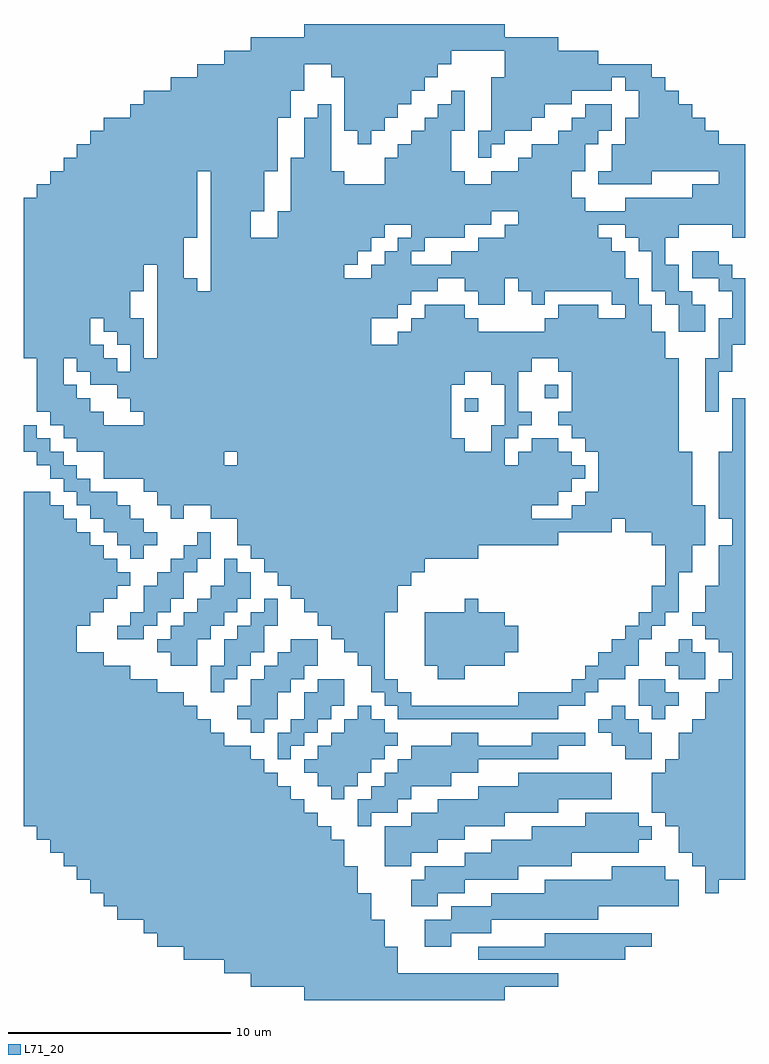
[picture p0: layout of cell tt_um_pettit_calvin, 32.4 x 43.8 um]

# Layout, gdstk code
import gdstk
lib = gdstk.Library(unit=1e-6, precision=1e-09)
def R(c, l, rs):  # rectangles x0, y0, x1, y1
    for r in rs: c.add(gdstk.rectangle(r[:2], r[2:], *l))
def A(c, l, x, y, w, h, nx, ny, dx, dy):  # array of equal rectangles
    R(c, l, [(x+i*dx, y+j*dy, x+i*dx+w, y+j*dy+h) for i in range(nx) for j in range(ny)])
L71_20 = (71, 20)

tt_um_pettit_calvin = lib.new_cell('tt_um_pettit_calvin')
A(tt_um_pettit_calvin, L71_20, 28.2, 10.8, 4.2, 0.6, 1, 3, 0, 0.6)
A(tt_um_pettit_calvin, L71_20, 0, 17.4, 3.6, 0.6, 1, 3, 0, 2.4)
A(tt_um_pettit_calvin, L71_20, 31.2, 21, 1.2, 0.6, 1, 3, 0, 0.6)
A(tt_um_pettit_calvin, L71_20, 31.2, 24, 1.2, 0.6, 1, 5, 0, 0.6)
A(tt_um_pettit_calvin, L71_20, 25.8, 25.2, 4.2, 0.6, 1, 3, 0, 0.6)
A(tt_um_pettit_calvin, L71_20, 31.8, 27, 0.6, 0.6, 1, 4, 0, 0.6)
A(tt_um_pettit_calvin, L71_20, 24.6, 28.8, 4.8, 0.6, 1, 3, 0, 0.6)
A(tt_um_pettit_calvin, L71_20, 30.6, 28.8, 0.6, 0.6, 1, 3, 0, 0.6)
A(tt_um_pettit_calvin, L71_20, 0, 36.6, 7.8, 0.6, 1, 3, 0, 0.6)
A(tt_um_pettit_calvin, L71_20, 8.4, 37.8, 2.4, 0.6, 1, 3, 0, 0.6)
A(tt_um_pettit_calvin, L71_20, 12.6, 40.2, 1.2, 0.6, 1, 3, 0, 0.6)
A(tt_um_pettit_calvin, L71_20, 14.4, 42, 2.4, 0.6, 3, 1, 6.6, 0)
R(tt_um_pettit_calvin, L71_20, [(12.6,2.4,21.6,3), (10.2,3,24,3.6), (9,3.6,16.8,4.2), (7.2,4.2,16.8,4.8), (20.4,4.2,27,4.8), (6,4.8,16.2,5.4), (18,4.8,19.2,5.4), (23.4,4.8,28.2,5.4), (5.4,5.4,16.2,6), (18,5.4,21,6), (4.2,6,15.6,6.6), (19.2,6,25.8,6.6), (3.6,6.6,15.6,7.2), (17.4,6.6,18.6,7.2), (21,6.6,29.4,7.2), (3,7.2,15,7.8), (17.4,7.2,19.8,7.8), (23.4,7.2,29.4,7.8), (30.6,7.2,31.2,7.8), (2.4,7.8,15,8.4), (18,7.8,22.2,8.4), (26.4,7.8,28.8,8.4), (30.6,7.8,32.4,8.4), (1.8,8.4,14.4,9), (16.2,8.4,17.4,9), (19.8,8.4,24.6,9), (30,8.4,32.4,9), (1.2,9,14.4,9.6), (16.2,9,18.6,9.6), (21,9,27.6,9.6), (29.4,9,32.4,9.6), (0.6,9.6,13.8,10.2), (16.2,9.6,19.8,10.2), (22.8,9.6,28.2,10.2), (29.4,9.6,32.4,10.2), (0,10.2,13.2,10.8), (15,10.2,15.6,10.8), (17.4,10.2,21.6,10.8), (25.2,10.2,27.6,10.8), (28.8,10.2,32.4,10.8), (0,10.8,12.6,11.4), (15,10.8,16.8,11.4), (18.6,10.8,24,11.4), (0,11.4,12,12), (13.8,11.4,14.4,12), (15.6,11.4,17.4,12), (20.4,11.4,26.4,12), (0,12,11.4,12.6), (13.2,12,15,12.6), (16.2,12,19.2,12.6), (22.2,12,26.4,12.6), (0,12.6,10.8,13.2), (12.6,12.6,15.6,13.2), (16.8,12.6,20.4,13.2), (28.8,12.6,32.4,13.2), (0,13.2,10.2,13.8), (11.4,13.2,12,13.8), (13.2,13.2,16.2,13.8), (17.4,13.2,24,13.8), (27,13.2,28.2,13.8), (29.4,13.2,32.4,13.8), (0,13.8,9,14.4), (11.4,13.8,12.6,14.4), (13.8,13.8,16.8,14.4), (19.2,13.8,20.4,14.4), (22.8,13.8,25.2,14.4), (26.4,13.8,28.2,14.4), (29.4,13.8,32.4,14.4), (0,14.4,8.4,15), (10.2,14.4,10.8,15), (12,14.4,13.2,15), (14.4,14.4,16.2,15), (25.8,14.4,27.6,15), (30,14.4,32.4,15), (0,15,7.8,15.6), (9.6,15,11.4,15.6), (12.6,15,13.8,15.6), (15,15,15.6,15.6), (16.8,15,24,15.6), (26.4,15,27,15.6), (28.2,15,28.8,15.6), (30.6,15,32.4,15.6), (0,15.6,7.2,16.2), (10.2,15.6,11.4,16.2), (12.6,15.6,14.4,16.2), (16.2,15.6,17.4,16.2), (22.2,15.6,25.2,16.2), (27.6,15.6,29.4,16.2), (30.6,15.6,32.4,16.2), (0,16.2,6,16.8), (8.4,16.2,9,16.8), (10.2,16.2,12,16.8), (13.2,16.2,14.4,16.8), (15.6,16.2,16.8,16.8), (24.6,16.2,25.8,16.8), (27.6,16.2,28.8,16.8), (31.2,16.2,32.4,16.8), (0,16.8,4.8,17.4), (8.4,16.8,9.6,17.4), (10.8,16.8,12.6,17.4), (15.6,16.8,16.2,17.4), (18.6,16.8,19.8,17.4), (25.2,16.8,27,17.4), (29.4,16.8,30.6,17.4), (31.8,16.8,32.4,17.4), (6.6,17.4,7.8,18), (9,17.4,10.2,18), (11.4,17.4,13.2,18), (15,17.4,16.2,18), (18,17.4,21.6,18), (25.8,17.4,27.6,18), (28.8,17.4,30.6,18), (31.8,17.4,32.4,18), (0,18,2.4,18.6), (6,18,7.8,18.6), (9,18,10.8,18.6), (12,18,13.2,18.6), (14.4,18,16.2,18.6), (18,18,22.2,18.6), (26.4,18,27.6,18.6), (29.4,18,30,18.6), (31.2,18,32.4,18.6), (0,18.6,2.4,19.2), (4.2,18.6,5.4,19.2), (6.6,18.6,8.4,19.2), (9.6,18.6,10.8,19.2), (13.8,18.6,16.2,19.2), (18,18.6,22.2,19.2), (27,18.6,28.2,19.2), (30.6,18.6,32.4,19.2), (0,19.2,3,19.8), (4.8,19.2,6,19.8), (7.2,19.2,9,19.8), (10.2,19.2,11.4,19.8), (13.2,19.2,16.2,19.8), (18,19.2,21.6,19.8), (27.6,19.2,28.8,19.8), (30,19.2,32.4,19.8), (5.4,19.8,6.6,20.4), (7.8,19.8,9.6,20.4), (10.8,19.8,11.4,20.4), (12.6,19.8,16.8,20.4), (19.8,19.8,20.4,20.4), (28.2,19.8,29.4,20.4), (30.6,19.8,32.4,20.4), (0,20.4,4.2,21), (5.4,20.4,7.2,21), (8.4,20.4,10.2,21), (12,20.4,16.8,21), (28.2,20.4,29.4,21), (30.6,20.4,32.4,21), (0,21,4.8,21.6), (6,21,7.2,21.6), (9,21,10.2,21.6), (11.4,21,17.4,21.6), (28.8,21,29.4,21.6), (0,21.6,4.2,22.2), (6.6,21.6,7.8,22.2), (9,21.6,9.6,22.2), (10.8,21.6,18,22.2), (28.8,21.6,30,22.2), (4.8,22.2,5.4,22.8), (7.2,22.2,8.4,22.8), (10.2,22.2,20.4,22.8), (28.8,22.2,30,22.8), (0,22.8,3,23.4), (4.2,22.8,6,23.4), (7.8,22.8,8.4,23.4), (9.6,22.8,24,23.4), (28.2,22.8,30.6,23.4), (31.8,22.8,32.4,23.4), (0,23.4,2.4,24), (3.6,23.4,5.4,24), (9.6,23.4,26.4,24), (27,23.4,30.6,24), (31.8,23.4,32.4,24), (0,24,1.8,24.6), (3,24,4.8,24.6), (6.6,24,7.2,24.6), (8.4,24,22.8,24.6), (24.6,24,30.6,24.6), (0,24.6,1.2,25.2), (2.4,24.6,4.2,25.2), (6,24.6,24,25.2), (25.2,24.6,30,25.2), (1.8,25.2,3,25.8), (5.4,25.2,24.6,25.8), (1.2,25.8,2.4,26.4), (3.6,25.8,25.2,26.4), (0.6,26.4,1.8,27), (3.6,26.4,9,27), (9.6,26.4,21.6,27), (22.2,26.4,24.6,27), (0,27,1.2,27.6), (2.4,27,19.8,27.6), (21,27,21.6,27.6), (22.8,27,24,27.6), (25.2,27,29.4,27.6), (0,27.6,0.6,28.2), (1.8,27.6,19.2,28.2), (21,27.6,22.2,28.2), (24.6,27.6,29.4,28.2), (1.2,28.2,3.6,28.8), (5.4,28.2,19.2,28.8), (21.6,28.2,22.8,28.8), (24,28.2,29.4,28.8), (0.6,28.8,3,29.4), (4.8,28.8,19.2,29.4), (19.8,28.8,20.4,29.4), (21.6,28.8,22.2,29.4), (0.6,29.4,2.4,30), (4.2,29.4,19.2,30), (21.6,29.4,22.2,30), (23.4,29.4,24,30), (0.6,30,1.8,30.6), (3,30,19.8,30.6), (21,30,22.2,30.6), (0.6,30.6,1.8,31.2), (2.4,30.6,4.2,31.2), (4.8,30.6,22.8,31.2), (24,30.6,29.4,31.2), (30.6,30.6,31.8,31.2), (0,31.2,3.6,31.8), (4.8,31.2,5.4,31.8), (6,31.2,28.8,31.8), (31.2,31.2,31.8,31.8), (0,31.8,3,32.4), (4.2,31.8,5.4,32.4), (6,31.8,15.6,32.4), (16.8,31.8,28.8,32.4), (31.2,31.8,32.4,32.4), (0,32.4,3,33), (3.6,32.4,5.4,33), (6,32.4,15.6,33), (17.4,32.4,20.4,33), (23.4,32.4,28.2,33), (29.4,32.4,30.6,33), (31.2,32.4,32.4,33), (0,33,4.8,33.6), (6,33,16.8,33.6), (18,33,19.8,33.6), (24,33,25.8,33.6), (27,33,28.2,33.6), (29.4,33,30.6,33.6), (31.8,33,32.4,33.6), (0,33.6,4.8,34.2), (6,33.6,17.4,34.2), (20.4,33.6,21.6,34.2), (22.8,33.6,23.4,34.2), (26.4,33.6,27.6,34.2), (28.8,33.6,30,34.2), (31.8,33.6,32.4,34.2), (0,34.2,5.4,34.8), (6,34.2,7.8,34.8), (8.4,34.2,18.6,34.8), (19.8,34.2,21.6,34.8), (22.2,34.2,27.6,34.8), (28.2,34.2,29.4,34.8), (31.2,34.2,32.4,34.8), (0,34.8,5.4,35.4), (6,34.8,7.2,35.4), (8.4,34.8,14.4,35.4), (15.6,34.8,27,35.4), (28.2,34.8,29.4,35.4), (30,34.8,31.8,35.4), (0,35.4,7.2,36), (8.4,35.4,15,36), (16.2,35.4,17.4,36), (19.2,35.4,27,36), (28.2,35.4,28.8,36), (30,35.4,31.2,36), (0,36,7.2,36.6), (8.4,36,15.6,36.6), (16.8,36,18,36.6), (20.4,36,26.4,36.6), (27.6,36,28.8,36.6), (8.4,36.6,10.2,37.2), (11.4,36.6,16.2,37.2), (17.4,36.6,19.8,37.2), (21.6,36.6,25.8,37.2), (27,36.6,29.4,37.2), (31.8,36.6,32.4,37.2), (8.4,37.2,10.2,37.8), (11.4,37.2,21,37.8), (22.2,37.2,32.4,37.8), (12,37.8,25.2,38.4), (27,37.8,32.4,38.4), (0.6,38.4,7.8,39), (12,38.4,24.6,39), (30,38.4,32.4,39), (1.2,39,7.8,39.6), (12,39,14.4,39.6), (16.2,39,19.8,39.6), (21,39,24.6,39.6), (25.8,39,28.2,39.6), (31.2,39,32.4,39.6), (1.8,39.6,11.4,40.2), (12,39.6,13.8,40.2), (16.2,39.6,19.2,40.2), (22.2,39.6,25.2,40.2), (26.4,39.6,32.4,40.2), (2.4,40.2,11.4,40.8), (16.8,40.2,19.2,40.8), (20.4,40.2,21,40.8), (22.8,40.2,25.2,40.8), (26.4,40.2,32.4,40.8), (3,40.8,11.4,41.4), (15,40.8,15.6,41.4), (17.4,40.8,19.2,41.4), (20.4,40.8,21.6,41.4), (24,40.8,25.8,41.4), (27,40.8,31.2,41.4), (3.6,41.4,11.4,42), (14.4,41.4,16.2,42), (18,41.4,19.8,42), (21,41.4,22.8,42), (24.6,41.4,26.4,42), (27,41.4,30.6,42), (4.8,42,12,42.6), (13.2,42,13.8,42.6), (18.6,42,19.8,42.6), (25.2,42,26.4,42.6), (5.4,42.6,12,43.2), (14.4,42.6,17.4,43.2), (19.2,42.6,19.8,43.2), (21,42.6,24.6,43.2), (27.6,42.6,29.4,43.2), (6.6,43.2,12.6,43.8), (14.4,43.2,18,43.8), (21,43.2,26.4,43.8), (27,43.2,28.8,43.8), (7.8,43.8,12.6,44.4), (13.8,43.8,18.6,44.4), (21.6,43.8,28.2,44.4), (9,44.4,19.2,45), (21.6,44.4,25.8,45), (10.2,45,24,45.6), (12.6,45.6,21.6,46.2)])

lib.write_gds('tt_um_pettit_calvin.gds')
